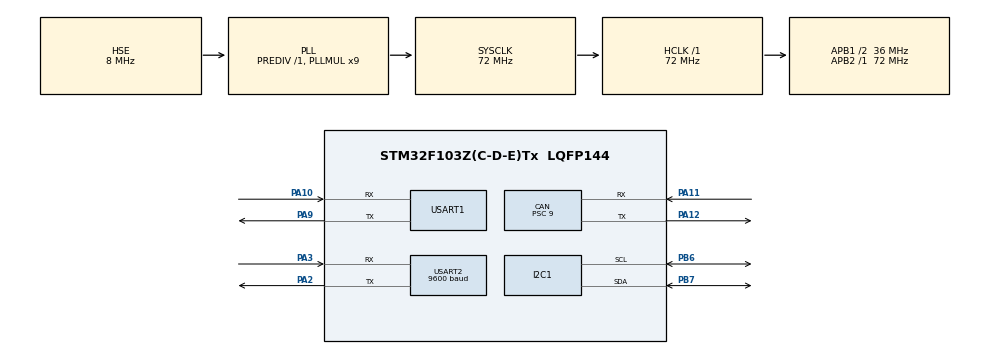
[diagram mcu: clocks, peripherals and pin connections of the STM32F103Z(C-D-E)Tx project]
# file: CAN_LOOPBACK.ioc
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CAN.BS1=CAN_BS1_5TQ
CAN.BS2=CAN_BS2_2TQ
CAN.CalculateBaudRate=500000
CAN.CalculateTimeBit=2000.00
CAN.CalculateTimeQuantum=250.0
CAN.Mode=CAN_MODE_LOOPBACK
CAN.Prescaler=9
Mcu.Family=STM32F1
Mcu.Name=STM32F103Z(C-D-E)Tx
Mcu.Package=LQFP144
NVIC.PriorityGroup=NVIC_PRIORITYGROUP_4
NVIC.USB_LP_CAN1_RX0_IRQn=true\:0\:0\:false\:false\:true\:true\:true
OSC_IN.Mode=HSE-External-Oscillator
OSC_IN.Signal=RCC_OSC_IN
OSC_OUT.Mode=HSE-External-Oscillator
OSC_OUT.Signal=RCC_OSC_OUT
PA10.Mode=Asynchronous
PA10.Signal=USART1_RX
PA11.Mode=CAN_Activate
PA11.Signal=CAN_RX
PA12.Mode=CAN_Activate
PA12.Signal=CAN_TX
PA13.Mode=Serial_Wire
PA13.Signal=SYS_JTMS-SWDIO
PA14.Mode=Serial_Wire
PA14.Signal=SYS_JTCK-SWCLK
PA2.Mode=Asynchronous
PA2.Signal=USART2_TX
PA3.Mode=Asynchronous
PA3.Signal=USART2_RX
PA9.Mode=Asynchronous
PA9.Signal=USART1_TX
PB6.Mode=I2C
PB6.Signal=I2C1_SCL
PB7.Mode=I2C
PB7.Signal=I2C1_SDA
ProjectManager.HeapSize=0x200
ProjectManager.StackSize=0x400
ProjectManager.TargetToolchain=MDK-ARM V5
RCC.AHBFreq_Value=72000000
RCC.APB1CLKDivider=RCC_HCLK_DIV2
RCC.APB1Freq_Value=36000000
RCC.APB1TimFreq_Value=72000000
RCC.APB2Freq_Value=72000000
RCC.APB2TimFreq_Value=72000000
RCC.HCLKFreq_Value=72000000
RCC.PLLMUL=RCC_PLL_MUL9
RCC.PLLSourceVirtual=RCC_PLLSOURCE_HSE
RCC.SYSCLKFreq_VALUE=72000000
RCC.SYSCLKSource=RCC_SYSCLKSOURCE_PLLCLK
RCC.USBFreq_Value=72000000
USART1.VirtualMode=VM_ASYNC
USART2.BaudRate=9600
USART2.VirtualMode=VM_ASYNC
board=custom

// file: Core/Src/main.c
/* ★ 2026-09-23 块D Day③ 核对版（可直接替换工程 Core\Src\main.c）
   相对原版的两处修正：
   1) HAL_Delay(1000) -> rx_count += DrainRx(1000) 并挪到 [STAT] 之前
      —— 命令帧不再憋 1 秒，收到立即回帧；命令帧也计入 rx 统计
   2) 整理 case 0x200 缩进、更新过时注释（不影响功能）
*/
#include "main.h"
#include "can.h"
#include "usart.h"
#include "gpio.h"

/* USER CODE BEGIN Includes */
#include <stdio.h>
#include <stdint.h>
#include <string.h>
#include <stdlib.h>
#include "gps_nmea.h"
#include "i2c.h"
#include "mpu6050.h"
#include "dht11.h"     /* ★Block K: PG11 single-bus temp/humi (U4 socket) */
#include "attitude.h"  /* ★Block L: MPU6050 gyro+accel complementary filter */
#include "sr04.h"      /* ★Block M: HC-SR04 ultrasonic (PE2 trig / PG10 echo) */
/* USER CODE END Includes */

/* USER CODE BEGIN PV */
//新增结构体
typedef struct {
    float   lat;        /* 0x100 纬度    float  小端          */
    float   lon;        /* 0x101 经度    float  小端          */
    int16_t speed;      /* 0x102 车速    int16  大端 km/h     */
    int16_t temp_x10;   /* 0x103 温度x10 int16  大端 285=28.5C */
    int16_t humi_x10;   /* 0x108 湿度x10 int16  大端 450=45.0% ★Block K */
    float distance;     /* 0x10A 距离mm ★Block M */
    int16_t acc_x;      /* 0x104 加速度X  int16 大端 0.01g    */
    int16_t acc_y;      /* 0x105 加速度Y  int16 大端 0.01g    */
    int16_t acc_z;      /* 0x106 加速度Z  int16 大端 0.01g    */
    uint8_t sat_num;    /* 0x107 数据[0] 卫星数               */
    uint8_t alarm_flag; /* 0x107 数据[1] 告警标志              */
}VehicleData;

static VehicleData g_vehicle = { 23.123456f, 113.123456f, 60, 285, 450, 800.0f, 0, 0, 0, 8, 0 };
/* USER CODE END PV */

void SystemClock_Config(void);

/* USER CODE BEGIN PFP */
// ==================== 声明工具函数 ====================
void ShowFloatBytes(const char *name, float v);

uint8_t PackFloatLE(float v, uint8_t *out);
uint8_t PackInt16LE(int16_t v, uint8_t *out);
uint8_t PackInt16BE(int16_t v, uint8_t *out);

float UnpackFloatLE(const uint8_t *in);
float UnpackFloatLE_WRONG(const uint8_t *in);
int16_t UnpackInt16LE(const uint8_t *in);
int16_t UnpackInt16BE(const uint8_t *in);

void TestPackUnpack(void);

// ==================== CAN 驱动层函数（★ 新增声明）====================
// DrainRx 和下面四个发送函数都要用到它们，先声明再定义，避免隐式声明
uint8_t CAN_Send(uint32_t id, uint8_t *data, uint8_t len);
uint8_t CAN_PollReceive(void);

// ==================== 声明协议发送函数 (块E day1 ：改为无参直读 g_vehicle)====================
uint8_t CAN_SendLatitude(void);                          /* 0x100 float 小端      */
uint8_t CAN_SendLongitude(void);                         /* 0x101 float 小端      */
uint8_t CAN_SendSpeed(void);                             /* 0x102 int16 大端      */
uint8_t CAN_SendTempX10(void);                           /* 0x103 int16 大端 x10  */
uint8_t CAN_SendHumiX10(void);                           /* 0x108 int16 大端 x10 ★Block K */
uint8_t CAN_SendAccAxis(uint32_t id, int16_t acc_g100);  /* 0x104/105/106 共用    */
uint8_t CAN_SendSatInfo(void);                           /* 0x107 卫星数+告警标志 */
uint8_t CAN_ReportGps(void);                             /* 1秒组 4帧             */
uint8_t CAN_ReportAcc(void);                             /* 100ms组 3帧(Day②用)   */
uint8_t CAN_ReportAll(void);                             /* 整包 8帧              */
void Sensor_Update(void);                                /* 模拟数据源(KP-E7)     */
// ==================== ★ Day② 新增: 数据源分档 + 按键 + 告警 ====================
void Key_Init(void);                //KEY0=PE4输入
void UpdateGps(void);               /* 下面三个改由 main 调度直接调 */
void UpdateAcc(void);
void UpdateTemp(void);
uint8_t CAN_SendAlarm(int16_t acc_g100);         /* 0x300 事件帧 */
uint8_t CAN_SendAttitude(void);                     /* 0x109 姿态帧 ★Block L */
uint8_t CAN_SendRollEvent(int p10, int r10);        /* 0x301 侧翻事件 ★Block L */
uint8_t CAN_SendDist(void);                         /* 0x10A 距离帧 ★Block M */
uint8_t CAN_SendCrash(int dist_mm);                 /* 0x302 防撞事件 ★Block M */

// ==================== 声明接收解析函数 ====================
void CAN_ProcessRx(CAN_RxHeaderTypeDef *rx_header, uint8_t *rx_data);
/* USER CODE END PFP */

/* USER CODE BEGIN 0 */
// ==================== 实验开关 ====================
#define FILTER_GPS_ONLY   0      /* 0 = 过滤器全通过（块D 用）；1 = 只放行 0x100~0x103 */
#define RX_PRINT_FULL     1      /* 1 = 完整打印（约 5ms/行）；0 = 精简打印（约 2.2ms/行）*/
#define GPS_TEST          0      /* ★块F: 1 = GPS透传测试(USART2收->USART1打); 0 = 恢复正常CAN业务 */

// ==================== 重定向 printf 到 UART1 ====================
int fputc(int ch, FILE *f)
{
    HAL_UART_Transmit(&huart1, (uint8_t *)&ch, 1, 100);
    return ch;
}

CAN_TxHeaderTypeDef tx_header;

uint32_t tx_mailbox;
/* ★ 旧散装全局 g_lat/g_lon/g_spd/g_tmp 已删除 —— 状态统一在 PV 区的 g_vehicle 里 */

void CAN_Start(void)
{
    CAN_FilterTypeDef filter = {0};      /* ★ 必须清零：FilterBank 也要有确定值 */

    filter.FilterBank           = 0;
    filter.FilterMode           = CAN_FILTERMODE_IDMASK;        /* 掩码模式 */
    filter.FilterScale          = CAN_FILTERSCALE_32BIT;        /* 32 位 */
    filter.FilterFIFOAssignment = CAN_RX_FIFO0;
    filter.FilterActivation     = ENABLE;                       /* 漏了它 = 一帧都收不到 */
    filter.SlaveStartFilterBank = 14;

    if (FILTER_GPS_ONLY) {
        filter.FilterIdHigh     = (0x100 << 5);   /* = 0x2000  期望 ID = 0x100 */
        filter.FilterMaskIdHigh = (0x7FC << 5);   /* = 0xFF80  比较 bit10~bit2 */
    } else {
        filter.FilterIdHigh     = 0x0000;
        filter.FilterMaskIdHigh = 0x0000;         /* 掩码全 0 -> 全放行 */
    }
    filter.FilterIdLow      = 0x0000;             /* 32 位模式下标准帧只用 High 这半 */
    filter.FilterMaskIdLow  = 0x0000;
    /* ★ 每个字段只赋值一次：老代码里那四行重复的全 0 赋值会把上面 FILTER_GPS_ONLY
       的结果覆盖回「全通过」——已经删掉，别再抄回来。 */

    if (HAL_CAN_ConfigFilter(&hcan, &filter) != HAL_OK) {
        printf("[ERR] ConfigFilter failed\r\n");
        Error_Handler();                 /* 配不上就别往下跑，否则后面全是假现象 */
    }
    if (HAL_CAN_Start(&hcan) != HAL_OK) {
        printf("[ERR] CAN_Start failed!\r\n");
        Error_Handler();
    }

    printf("\r\n===== CAN_LOOPBACK | Mode=%s | Filter=%s | Built %s %s =====\r\n",
           (hcan.Init.Mode == CAN_MODE_LOOPBACK) ? "LOOPBACK" : "NORMAL",
           (filter.FilterActivation == ENABLE) ? "ENABLE" : "DISABLE",
           __DATE__, __TIME__);

    printf("[INIT] IER=0x%08lX BTR=0x%08lX RF0R=0x%08lX\r\n",
           hcan.Instance->IER, hcan.Instance->BTR, hcan.Instance->RF0R);

    printf("Filter: IdHigh=0x%04X MaskHigh=0x%04X -> %s\r\n",
           filter.FilterIdHigh, filter.FilterMaskIdHigh,
           (filter.FilterMaskIdHigh == 0) ? "PASS-ALL" : "ONLY 0x100~0x103");
}

uint8_t CAN_Send(uint32_t id, uint8_t *data, uint8_t len)
{
    if (len > 8) return 1;

    tx_header.StdId = id;
    tx_header.IDE   = CAN_ID_STD;
    tx_header.RTR   = CAN_RTR_DATA;
    tx_header.DLC   = len;

    uint32_t t0 = HAL_GetTick();
    while (HAL_CAN_GetTxMailboxesFreeLevel(&hcan) == 0) {
        if (HAL_GetTick() - t0 > 10) {
            printf("[CAN] Mailbox full!\r\n");
            return 1;
        }
    }

    return (HAL_CAN_AddTxMessage(&hcan, &tx_header, data, &tx_mailbox) == HAL_OK) ? 0 : 1;
}

uint8_t CAN_PollReceive(void)
{
    CAN_RxHeaderTypeDef rx_header;
    uint8_t rx_data[8];

    if (HAL_CAN_GetRxFifoFillLevel(&hcan, CAN_RX_FIFO0) == 0)
        return 0;

    if (HAL_CAN_GetRxMessage(&hcan, CAN_RX_FIFO0, &rx_header, rx_data) != HAL_OK)
        return 0;

    // 收到数据后调用解析函数处理
    CAN_ProcessRx(&rx_header, rx_data);
    return 1;
}

/* ================= 接收节奏：在 ms 毫秒内把 FIFO 取空 =================
 * ★ 位置：必须放在 CAN_PollReceive() 之后（上一版放在最前面 -> 隐式声明报错）
 * 用法：发一帧 -> DrainRx(3) -> 再发下一帧
 * 这样任何时刻 FIFO0 里最多只有 1 帧，永远撞不到「3 格满 -> 硬件静默丢帧」。
 */
static uint8_t DrainRx(uint32_t ms)
{
    uint8_t  n  = 0;
    uint32_t t0 = HAL_GetTick();
    while (HAL_GetTick() - t0 < ms) {
        if (CAN_PollReceive() != 0) n++;
        else HAL_Delay(1);
    }
    return n;
}
/* ==================== ★ Day② 新增: KEY0 与急刹判据 ==================== */

/* KEY0 = PE4, 按下=低。★ 工程原本只开了 GPIOA 时钟, PE 必须自己开!
   (不调 Key_Init 就读 PE4: GPIOE 时钟未开读回 0 = 被当成"永远按下") */

void Key_Init(void)
{
    __HAL_RCC_GPIOE_CLK_ENABLE();

    GPIO_InitTypeDef g = {0};
    g.Pin   = GPIO_PIN_4;
    g.Mode  = GPIO_MODE_INPUT;
    g.Pull  = GPIO_PULLUP;      //按下低电平
    HAL_GPIO_Init(GPIOE,&g);
}

#if !GPS_TEST
/* 整数开方(牛顿迭代) —— 免 math.h 依赖, 合加速度 = √(x²+y²+z²) */
static int32_t isqrt32(int32_t x)
{
    int32_t r = x;
    if (x <= 0) return 0;
    for (;;) {
        int32_t nr = (r + x / r) / 2;
        if (nr >= r) return r;          /* 收敛到 floor(sqrt(x)) */
        r = nr;
    }
}

/* 急刹判据: 返回合加速度平方(单位 (0.01g)²)。
   >1.8g  ⟺  平方和 > 180² = 32400 (不开方就能判, 嵌入式常用技巧)
   KEY0 按下 = 强制注入 -2.00g, 验收时按一下必出告警 */
static int32_t BrakeAccSq100(void)
{
    if (HAL_GPIO_ReadPin(GPIOE, GPIO_PIN_4) == GPIO_PIN_RESET) {
        g_vehicle.acc_x = -200;         /* 注入 -2.00g */
    }
    return (int32_t)g_vehicle.acc_x * g_vehicle.acc_x
         + (int32_t)g_vehicle.acc_y * g_vehicle.acc_y
         + (int32_t)g_vehicle.acc_z * g_vehicle.acc_z;
}
#endif /* !GPS_TEST: 透传模式下 CAN 调度不编译, 两个 static 函数无引用 */

/* USER CODE END 0 */

int main(void)
{

  HAL_Init();

  SystemClock_Config();

  MX_GPIO_Init();
  /* ★排错探针1: 点亮LED0(PB5) —— 灯亮 = HAL_Init/SystemClock/GPIO 全部活着 */
  __HAL_RCC_GPIOB_CLK_ENABLE();
  {
    GPIO_InitTypeDef led = {0};
    led.Pin = GPIO_PIN_5; led.Mode = GPIO_MODE_OUTPUT_PP; led.Speed = GPIO_SPEED_FREQ_LOW;
    HAL_GPIO_Init(GPIOB, &led);
    HAL_GPIO_WritePin(GPIOB, GPIO_PIN_5, GPIO_PIN_RESET);   /* 低电平亮 */
  }
  MX_CAN_Init();
  MX_USART1_UART_Init();
  printf("p1: usart1 ok\r\n");
  MX_USART2_UART_Init();
  MX_I2C1_Init();
  printf("p2: usart2 ok\r\n");

  /* USER CODE BEGIN 2 */
  CAN_Start();
    printf("=== CAN Sensor Node ((multi-rate + alarm)) ===\r\n");

  // 执行打包解包测试
  TestPackUnpack();
  TestNmea();
  memset(&g_gps, 0, sizeof(g_gps));   /* 自检后清零，防止测试坐标进生产数据 */
  I2C_Scan();               /* ★块H Day51:I2C 总线普查 */
    if (MPU6050_Init() != 0)
      printf("[MPU] init FAILED - check wiring\r\n");   /* 失败只报警,不死机 */
  Key_Init();               /* ★ KEY0 就绪(必须在读 PE4 之前) */
  dht11_init();             /* ★Block K: PG11 open-drain+pull-up, waits 1s */
  attitude_init();          /* ★Block L: gyro bias calib -- keep board STILL ~1s during boot */
  sr04_init();              /* ★Block M: PE2 trig + PG10 echo, 5V module */
  { int d = sr04_read_mm();
    printf("[SR04] %d mm\r\n", d); }   /* smoke: 正对墙面 20~200cm 应读真值, 验收后删 */

  GPS_UART_Init(&huart2);   /* ★块I:GPS中断拼行常驻,g_gps 持续更新 */

   /* ★ 分周期调度的状态变量 —— 必须放在 while(1) 之前! */
#if !GPS_TEST
  uint32_t t_acc = 0,t_gps = 0,t_temp = 0;  /* 三档节拍 */
  uint32_t t_alarm = 0,t_stat = 0;          /* 告警冷却 / 统计节拍 */
  uint8_t  err_gps = 0,err_acc = 0,err_tmp = 0;     /* 本秒发送错误累计 */
  uint8_t  err_att = 0;                             /* ★Block L: 姿态/侧翻发送错误 */
  uint32_t t_roll = 0;                              /* ★Block L: 侧翻冷却节拍 */
  uint32_t t_crash = 0;                             /* ★Block M: 防撞冷却节拍 */
  int      rx_cnt  = 0;
#endif

  /* USER CODE END 2 */

  /* Infinite loop */
  /* USER CODE BEGIN WHILE */
  while (1)
        {
    uint32_t now = HAL_GetTick();                   /* ★ 时间基准每圈取一次 */

    /* ---- 100ms 档: 加速度 3 帧 ---- */
    if (now - t_acc >= 100) {
        t_acc = now;
        UpdateAcc();
        err_acc |= CAN_ReportAcc();
        attitude_update_100ms();                             /* ★Block L: 互补滤波姿态解算 */
        { int p = attitude_get_pitch10(), r = attitude_get_roll10();
          char ps = (p < 0) ? '-' : ' ', rs = (r < 0) ? '-' : ' ';
          if (p < 0) p = -p;
          if (r < 0) r = -r;
          printf("[ATT] P=%c%d.%d R=%c%d.%d\r\n", ps, p / 10, p % 10, rs, r / 10, r % 10); }
        /* ★Block L: 侧翻检测 |roll|>45° → 0x301(1s 冷却, 照 0x300 模式) */
        if (now - t_roll >= 1000) {
            int r10 = attitude_get_roll10();
            if (r10 > 450 || r10 < -450) {
                t_roll = now;
                if (CAN_SendRollEvent(attitude_get_pitch10(), r10) != 0) err_att |= 2;
                printf("[ROLL] 0x301 sent, roll=%d.%d\r\n", r10 / 10, r10 % 10);
            }
        }
    }

    /* ---- 1s 档: GPS类 + 车速 + 卫星 4 帧 ---- */
    if (now - t_gps >= 1000) {
        t_gps = now;
        UpdateGps();
        printf("[TX] lat=%.6f lon=%.6f spd=%d sat=%d flag=%d | ax=%d ay=%d az=%d (0.01g)\r\n",
               g_vehicle.lat, g_vehicle.lon, g_vehicle.speed,
               g_vehicle.sat_num, g_vehicle.alarm_flag,
               g_vehicle.acc_x, g_vehicle.acc_y, g_vehicle.acc_z);
        err_gps |= CAN_ReportGps();
        err_att |= CAN_SendAttitude();               /* ★Block L: 0x109 姿态(1s 档) */
    }

    /* ---- 2s 档: 温湿度 2 帧(DHT11 采样周期 >2s, 手册要求) ★Block K ---- */
    if (now - t_temp >= 2000) {
        t_temp = now;
        UpdateTemp();                               /* ★块K: 内部改读 DHT11(失败/全0保持旧值) */
        if (CAN_SendTempX10() != 0) err_tmp = 1;    /* 0x103 温度 x10 语义不变 */
        if (CAN_SendHumiX10() != 0) err_tmp |= 2;   /* ★块K: 0x108 湿度 x10 */
        printf("[TH] T=%d.%dC H=%d.%d%%\r\n",       /* ★块K: 人类可读直显, 免换算 */
               g_vehicle.temp_x10 / 10, g_vehicle.temp_x10 % 10,
               g_vehicle.humi_x10 / 10, g_vehicle.humi_x10 % 10);
        /* ★块M: HC-SR04 测距(声速温度补偿联动 DHT11) */
        sr04_set_temp10(g_vehicle.temp_x10);        /* 喂 DHT11 实测温度 */
        { int d = sr04_read_mm();
          if (d >= 0) g_vehicle.distance = (float)d;   /* 失败保持旧值(Block-J rule) */
          if (CAN_SendDist() != 0) err_tmp |= 4;       /* 0x10A 距离 mm(bit2=距离) */
          printf("[DIST] %d mm\r\n", d);
          if (d >= 0 && d < 300 && (now - t_crash >= 1000)) {   /* ★0x302 防撞事件 */
              t_crash = now;
              if (CAN_SendCrash(d) != 0) err_tmp |= 8;  /* bit3=防撞 */
              printf("[CRASH] 0x302 sent, dist=%d mm\r\n", d);
          }
        }
        DrainRx(3);
    }

    /* ---- 事件档: 急刹 → 0x300(平时不发, KP-E5); 1 秒冷却防连发 ---- */
    int32_t sq = BrakeAccSq100();
    if (sq > 32400L && (now - t_alarm >= 1000)) {
        t_alarm = now;
        g_vehicle.alarm_flag = 1;
        CAN_SendAlarm((int16_t)isqrt32(sq));
        printf("[ALARM] 0x300 sent, acc=%d.%02dg\r\n", isqrt32(sq) / 100, isqrt32(sq) % 100);
    }
    if (g_vehicle.alarm_flag != 0 && (now - t_alarm >= 5000)) {
        g_vehicle.alarm_flag = 0;                   /* 告警标志 5 秒后自动清除 */
    }

    /* ---- 接收窗口常开: 0x200 命令随到随回 ---- */
        /* GPS 行解析:有行就喂(守卫在 parse_rmc 内),V 状态自动跳过 */
    char line[100];
    if (GPS_PopLine(line, sizeof(line)))
        GPS_ParseLine(line);

    rx_cnt += DrainRx(1);

    /* ---- 每秒一次统计(替代原 [STAT] 节奏) ---- */
    if (now - t_stat >= 1000) {
        t_stat = now;
        printf("[STAT] rx=%d err_gps=0x%02X err_acc=0x%02X err_tmp=%u err_att=%u\r\n",
               rx_cnt, err_gps, err_acc, err_tmp, err_att);
        rx_cnt = 0; err_gps = 0; err_acc = 0; err_tmp = 0; err_att = 0;
    }
  }
  /* USER CODE END WHILE */

}

void SystemClock_Config(void)
{
  RCC_OscInitTypeDef RCC_OscInitStruct = {0};
  RCC_ClkInitTypeDef RCC_ClkInitStruct = {0};

  RCC_OscInitStruct.OscillatorType = RCC_OSCILLATORTYPE_HSE;
  RCC_OscInitStruct.HSEState = RCC_HSE_ON;
  RCC_OscInitStruct.HSEPredivValue = RCC_HSE_PREDIV_DIV1;
  RCC_OscInitStruct.HSIState = RCC_HSI_ON;
  RCC_OscInitStruct.PLL.PLLState = RCC_PLL_ON;
  RCC_OscInitStruct.PLL.PLLSource = RCC_PLLSOURCE_HSE;
  RCC_OscInitStruct.PLL.PLLMUL = RCC_PLL_MUL9;
  if (HAL_RCC_OscConfig(&RCC_OscInitStruct) != HAL_OK) { Error_Handler(); }

  RCC_ClkInitStruct.ClockType = RCC_CLOCKTYPE_HCLK | RCC_CLOCKTYPE_SYSCLK |
                                RCC_CLOCKTYPE_PCLK1 | RCC_CLOCKTYPE_PCLK2;
  RCC_ClkInitStruct.SYSCLKSource   = RCC_SYSCLKSOURCE_PLLCLK;
  RCC_ClkInitStruct.AHBCLKDivider  = RCC_SYSCLK_DIV1;
  RCC_ClkInitStruct.APB1CLKDivider = RCC_HCLK_DIV2;
  RCC_ClkInitStruct.APB2CLKDivider = RCC_HCLK_DIV1;
  if (HAL_RCC_ClockConfig(&RCC_ClkInitStruct, FLASH_LATENCY_2) != HAL_OK) { Error_Handler(); }
}

/* USER CODE BEGIN 4 */
// ==================== 协议发送层(KP-E1/E2: 直读 g_vehicle, 无参) ====================
// 0x100 纬度 (4B float 小端)
uint8_t CAN_SendLatitude(void)
{
    uint8_t data[8] = {0};
    PackFloatLE(g_vehicle.lat, data);
    return CAN_Send(0x100, data, 4);
}

// 0x101 经度 (4B float 小端)
uint8_t CAN_SendLongitude(void)
{
    uint8_t data[8] = {0};
    PackFloatLE(g_vehicle.lon, data);
    return CAN_Send(0x101, data, 4);
}

// 0x102 车速 (2B int16 大端)
uint8_t CAN_SendSpeed(void)
{
    uint8_t data[8] = {0};
    PackInt16BE(g_vehicle.speed, data);
    return CAN_Send(0x102, data, 2);
}

// 0x103 温度 (2B int16 大端, 结构体里已是 x10 整数, 不再四舍五入)
uint8_t CAN_SendTempX10(void)
{
    uint8_t data[8] = {0};
    PackInt16BE(g_vehicle.temp_x10, data);
    return CAN_Send(0x103, data, 2);
}

// ★Block K: 0x108 湿度 (2B int16 大端 x10, 450=45.0%) —— 与 0x103 完全同构
uint8_t CAN_SendHumiX10(void)
{
    uint8_t data[8] = {0};
    PackInt16BE(g_vehicle.humi_x10, data);
    return CAN_Send(0x108, data, 2);
}

// 0x104/0x105/0x106 加速度 XYZ 共用 (2B int16 大端, 单位 0.01g)
uint8_t CAN_SendAccAxis(uint32_t id, int16_t acc_g100)
{
    uint8_t data[8] = {0};
    PackInt16BE(acc_g100, data);
    return CAN_Send(id, data, 2);
}

// 0x107 卫星数 + 告警标志 (2B: data[0]=卫星数, data[1]=标志)
uint8_t CAN_SendSatInfo(void)
{
    uint8_t data[8] = {0};
    data[0] = g_vehicle.sat_num;
    data[1] = g_vehicle.alarm_flag;
    return CAN_Send(0x107, data, 2);
}

// ★ 0x300 告警帧 (2B int16 大端, 数据 = 合加速度 x100) —— 事件触发, KP-E5
uint8_t CAN_SendAlarm(int16_t acc_g100)
{
    uint8_t data[8] = {0};
    PackInt16BE(acc_g100,data);
    return CAN_Send(0x300,data,2);
}

/* ★Block L: 0x109 姿态 (4B: pitch/roll x10 int16 BE) */
uint8_t CAN_SendAttitude(void)
{
    uint8_t data[8] = {0};
    int p = attitude_get_pitch10(), r = attitude_get_roll10();
    data[0] = (uint8_t)((p >> 8) & 0xFF); data[1] = (uint8_t)(p & 0xFF);
    data[2] = (uint8_t)((r >> 8) & 0xFF); data[3] = (uint8_t)(r & 0xFF);
    return CAN_Send(0x109, data, 4);
}

/* ★Block L: 0x301 侧翻事件 (4B: pitch/roll x10) */
uint8_t CAN_SendRollEvent(int p10, int r10)
{
    uint8_t data[8] = {0};
    data[0] = (uint8_t)((p10 >> 8) & 0xFF); data[1] = (uint8_t)(p10 & 0xFF);
    data[2] = (uint8_t)((r10 >> 8) & 0xFF); data[3] = (uint8_t)(r10 & 0xFF);
    return CAN_Send(0x301, data, 4);
}

/* ★Block M: 0x10A 距离 (2B int16 大端, mm 原生) */
uint8_t CAN_SendDist(void)
{
    uint8_t data[8] = {0};
    int d = (int)g_vehicle.distance;
    data[0] = (uint8_t)((d >> 8) & 0xFF); data[1] = (uint8_t)(d & 0xFF);
    return CAN_Send(0x10A, data, 2);
}

/* ★Block M: 0x302 防撞事件 (2B 距离 mm) */
uint8_t CAN_SendCrash(int dist_mm)
{
    uint8_t data[8] = {0};
    data[0] = (uint8_t)((dist_mm >> 8) & 0xFF); data[1] = (uint8_t)(dist_mm & 0xFF);
    return CAN_Send(0x302, data, 2);
}

// ==================== ★ 分组上报(KP-E6) ====================

uint8_t CAN_ReportGps(void)
{
    uint8_t err = 0;
    if (g_gps.valid) {                              /* KP-J3:没定位不发垃圾坐标 */
        if (CAN_SendLatitude()  != 0) err |= (1U << 0);
        DrainRx(3);
        if (CAN_SendLongitude() != 0) err |= (1U << 1);
        DrainRx(3);
        if (CAN_SendSpeed()     != 0) err |= (1U << 2);
        DrainRx(3);
    }
    if (CAN_SendSatInfo()   != 0) err |= (1U << 3); /* 卫星数/标志照发:0 也是真值 */
    DrainRx(3);
    return err;
}

/* 100ms 组 3 帧: 0x104/0x105/0x106 —— 返回错误位图 bit0~2 (Day② 调度用) */
uint8_t CAN_ReportAcc(void)
{
    uint8_t err = 0;
    if (CAN_SendAccAxis(0x104, g_vehicle.acc_x) != 0) err |= (1U << 0);
    DrainRx(3);
    if (CAN_SendAccAxis(0x105, g_vehicle.acc_y) != 0) err |= (1U << 1);
    DrainRx(3);
    if (CAN_SendAccAxis(0x106, g_vehicle.acc_z) != 0) err |= (1U << 2);
    DrainRx(3);
    return err;
}

/* ★ 整包 8 帧: bit0~3=GPS组, bit4=温度, bit5~7=加速度组 */
uint8_t CAN_ReportAll(void)
{
    uint8_t err = CAN_ReportGps();
    if (CAN_SendTempX10() != 0) err |= (1U << 4);
    DrainRx(3);
    err |= (uint8_t)(CAN_ReportAcc() << 5);
    return err;
}

// ==================== ★ 模拟数据源(KP-E7: Day46 换真传感器只动这一段) ====================

void UpdateGps(void)
{
    /* 块I:从 g_gps(块G 解析结果)拷真值——守卫已在 parse_rmc 里做过 */
    g_vehicle.lat   = (float)g_gps.latitude;
    g_vehicle.lon   = (float)g_gps.longitude;
    g_vehicle.speed = (int16_t)g_gps.speed_kmh;
    g_vehicle.sat_num = g_gps.satellites;
    /* alarm_flag 仍由告警逻辑管理,这里不动 */
}

void UpdateTemp(void)
{
    uint8_t h = 0, t = 0;
    if (dht11_read(&h, &t) == 0 && (h != 0 || t != 0)) {  /* ★块K:DHT11真值;全0=未就绪不更新(校验盲区) */
        g_vehicle.humi_x10 = (int16_t)h * 10;   /* 45 -> 450 = 45.0% */
        g_vehicle.temp_x10 = (int16_t)t * 10;   /* 28 -> 280 = 28.0C */
    }
    /* fail: keep last values (Block-J rule: defined output state); err_tmp bit-map reports it */
}

void UpdateAcc(void)
{
    int16_t ax, ay, az;
    MPU6050_ReadAccel(&ax, &ay, &az);          /* 块H 驱动:原始值,16384=1g */

    /* 原始值 → 块E 协议单位 0.01g:raw×100÷16384(int32 中间量防溢出) */
    g_vehicle.acc_x = (int16_t)(((int32_t)ax * 100) / 16384);
    g_vehicle.acc_y = (int16_t)(((int32_t)ay * 100) / 16384);
    g_vehicle.acc_z = (int16_t)(((int32_t)az * 100) / 16384);
    /* KEY0 强制注入 -2.00g 的功能保留着(BrakeAccSq100 里),验收照样能按 */
}

/* 一次全更新(Day② 会拆成三档分别调用) */
void Sensor_Update(void)
{
    UpdateGps();
    UpdateAcc();
    UpdateTemp();
}

// ==================== 接收解析函数 ====================
void CAN_ProcessRx(CAN_RxHeaderTypeDef *rx_header, uint8_t *rx_data)
{
#if RX_PRINT_FULL
    /* ---- 完整版：一行约 60 字符 ≈ 5ms @115200 ---- */
    printf("[RX] ID=0x%03X DLC=%d Data: ", rx_header->StdId, rx_header->DLC);
    for (int i = 0; i < rx_header->DLC; i++) printf("%02X ", rx_data[i]);
    printf(" -> ");
    switch (rx_header->StdId)
    {
        case 0x100: printf("lat = %.6f\r\n", UnpackFloatLE(rx_data));          break;
        case 0x101: printf("lon = %.6f\r\n", UnpackFloatLE(rx_data));          break;
        case 0x102: printf("speed = %d\r\n", UnpackInt16BE(rx_data));          break;
        case 0x103: printf("temp = %.1f\r\n", UnpackInt16BE(rx_data) / 10.0f); break;
        case 0x200:                        /* ★ 命令帧：PCAN 发 0x200 / 0x01 请求数据 */
            if (rx_header->DLC >= 1 && rx_data[0] == 0x01) {
                printf("cmd 0x200/01 -> reply latest data\r\n");
                CAN_SendLatitude();
                CAN_SendLongitude();
                CAN_SendSpeed();
                CAN_SendTempX10();
            } else {
                printf("unknown command\r\n");
            }
            break;
        default:    printf("unknown ID\r\n");                                  break;
    }
#else
    /* ---- 精简版：一行约 25 字符 ≈ 2.2ms，做 A/B 对照用 ---- */
    printf("[RX] 0x%03X L=%d -> ", rx_header->StdId, rx_header->DLC);
    switch (rx_header->StdId)
    {
        case 0x100: printf("lat=%.6f\r\n", UnpackFloatLE(rx_data));           break;
        case 0x101: printf("lon=%.6f\r\n", UnpackFloatLE(rx_data));           break;
        case 0x102: printf("spd=%d\r\n", UnpackInt16BE(rx_data));             break;
        case 0x103: printf("tmp=%.1f\r\n", UnpackInt16BE(rx_data) / 10.0f);   break;
        case 0x200:                        /* ★ 命令帧：PCAN 发 0x200 / 0x01 请求数据 */
            if (rx_header->DLC >= 1 && rx_data[0] == 0x01) {
                printf("cmd 0x200/01 -> reply latest data\r\n");
                CAN_SendLatitude();
                CAN_SendLongitude();
                CAN_SendSpeed();
                CAN_SendTempX10();
            } else {
                printf("unknown command\r\n");
            }
            break;
        default:    printf("unknown\r\n");                                     break;
    }
#endif
}

// ==================== 工具函数实现区 ====================

void ShowFloatBytes(const char *name, float v)
{
    union { float f; uint8_t b[4]; } u;
    u.f = v;
    printf("%s -> %02X %02X %02X %02X\r\n", name, u.b[0], u.b[1], u.b[2], u.b[3]);
}

uint8_t PackFloatLE(float v, uint8_t *out)
{
    union { float f; uint8_t b[4]; } u;
    u.f = v;
    out[0] = u.b[0]; out[1] = u.b[1];
    out[2] = u.b[2]; out[3] = u.b[3];
    return 4;
}

// 小端打包 int16（仅作对照，协议里 int16 一律用大端）
uint8_t PackInt16LE(int16_t v, uint8_t *out)
{
    out[0] = (uint8_t)(v & 0xFF);
    out[1] = (uint8_t)((v >> 8) & 0xFF);
    return 2;
}

// 大端打包 int16（协议在用）
uint8_t PackInt16BE(int16_t v, uint8_t *out)
{
    uint16_t u = (uint16_t)v;       /* 显式无符号，不依赖「负数右移」的实现定义：-50 -> 0xFFCE */
    out[0] = (uint8_t)((u >> 8) & 0xFF);
    out[1] = (uint8_t)(u & 0xFF);
    return 2;
}

float UnpackFloatLE(const uint8_t *in)
{
    union { float f; uint8_t b[4]; } u;
    u.b[0] = in[0]; u.b[1] = in[1];
    u.b[2] = in[2]; u.b[3] = in[3];
    return u.f;
}

// 故意用大端解包, 用于对比错误字节序（教学用）
float UnpackFloatLE_WRONG(const uint8_t *in)
{
    float v; uint8_t tmp[4] = { in[3], in[2], in[1], in[0] };
    memcpy(&v, tmp, 4);
    return v;
}

// 小端解包 int16（仅作对照）
int16_t UnpackInt16LE(const uint8_t *in)
{
    return (int16_t)((in[1] << 8) | in[0]);
}

// 大端解包 int16（协议在用）
int16_t UnpackInt16BE(const uint8_t *in)
{
    return (int16_t)((in[0] << 8) | in[1]);
}

void TestPackUnpack(void)
{
    uint8_t buf[8];
    float  f_in = 23.123456f, f_out;
    int16_t i_in = -50, i_out;
    ShowFloatBytes("100.0f", 100.0f);       /* 应打印 00 00 C8 42 */

    PackFloatLE(f_in, buf);
    f_out = UnpackFloatLE(buf);
    printf("float : %.6f -> %02X %02X %02X %02X -> %.6f  %s\r\n",
           f_in, buf[0], buf[1], buf[2], buf[3], f_out,
           (f_in == f_out) ? "OK" : "ERR");

    // 故意用大端解包, 看错误字节序长什么样
    float f_wrong = UnpackFloatLE_WRONG(buf);
    printf("wrong : %.6f -> %02X %02X %02X %02X -> %.6f  ERR!\r\n",
           f_in, buf[0], buf[1], buf[2], buf[3], f_wrong);

    // 测试大端
    PackInt16BE(i_in, buf);
    i_out = UnpackInt16BE(buf);
    printf("int16 BE: %d -> %02X %02X -> %d  %s\r\n",
           i_in, buf[0], buf[1], i_out, (i_in == i_out) ? "OK" : "ERR");
}
/* USER CODE END 4 */

void Error_Handler(void)
{
  __disable_irq();
  while (1) { }
}
